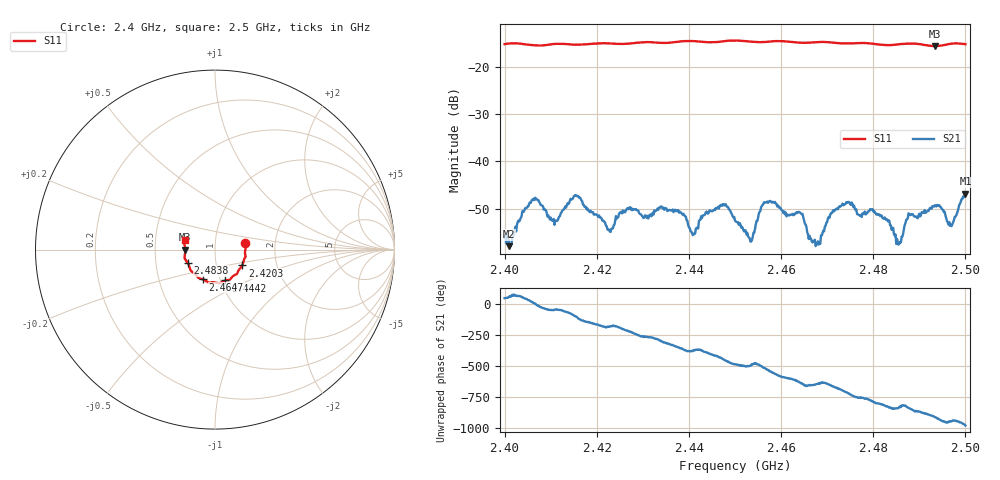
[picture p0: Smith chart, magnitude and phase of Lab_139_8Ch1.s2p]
# Hz S RI R 50
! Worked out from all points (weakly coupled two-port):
!   601 points, 2.4 GHz to 2.5 GHz, reference 50 ohm
!   highest |S21| = -46.85 dB at 2.5 GHz (marker M1); lowest = -57.9 dB at 2.401 GHz (marker M2)
!   lowest |S11| = -15.6 dB at 2.4933 GHz (marker M3), VSWR 1.40, Z = 35.8 - j0.0801 ohm
!   |S11| at or under -10 dB: start of sweep to end of sweep
!   S12 and S22 are empty: the file has one direction only
!   S11 on the Smith chart (normalised r, x): 2.4 GHz: 1.40, +0.11; 2.4203 GHz: 1.34, -0.24; 2.4442 GHz: 1.06, -0.37; 2.4647 GHz: 0.83, -0.29; 2.4838 GHz: 0.73, -0.11; 2.5 GHz: 0.71, +0.08
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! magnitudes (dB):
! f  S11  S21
! 2.4 GHz  -15.2  -56.1
! 2.401 GHz  -15.1  -57.9
! 2.4063 GHz  -15.4  -47.9
! 2.4108 GHz  -15.2  -53.4
! 2.4167 GHz  -15.3  -48.2
! 2.4203 GHz  -15.1  -51.8
! 2.4333 GHz  -14.9  -50.2
! 2.4408 GHz  -14.6  -55.6
! 2.4442 GHz  -14.8  -51.0
! 2.45 GHz  -14.4  -52.5
! 2.4533 GHz  -14.7  -56.9
! 2.4565 GHz  -14.8  -48.7
! 2.4647 GHz  -14.9  -51.1
! 2.4667 GHz  -14.9  -56.9
! 2.4743 GHz  -15.1  -48.8
! 2.4833 GHz  -15.4  -52.4
! 2.4838 GHz  -15.4  -53.6
! 2.4855 GHz  -15.3  -57.6
! 2.4878 GHz  -15.1  -51.1
! 2.4933 GHz  -15.6  -49.3
! 2.4968 GHz  -15.1  -53.4
! 2.5 GHz  -15.2  -46.9
